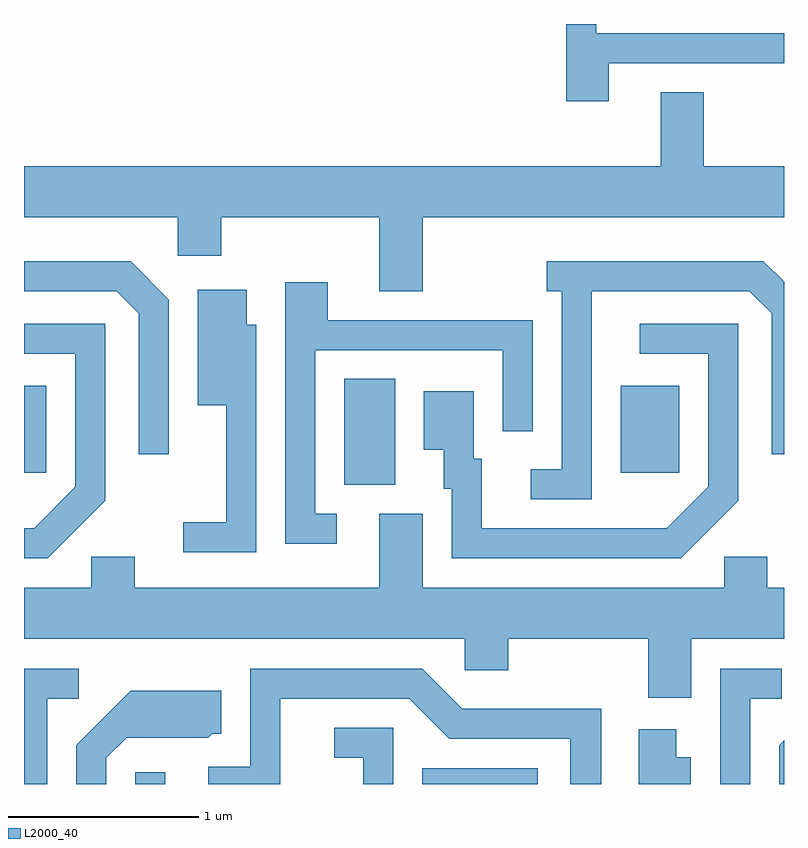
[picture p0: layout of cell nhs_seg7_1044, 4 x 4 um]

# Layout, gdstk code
import gdstk
lib = gdstk.Library(unit=1e-6, precision=1e-09)
def R(c, l, rs):  # rectangles x0, y0, x1, y1
    for r in rs: c.add(gdstk.rectangle(r[:2], r[2:], *l))
def P(c, l, *ps):  # polygons
    for p in ps: c.add(gdstk.Polygon(p, *l))
L2000_40 = (2000, 40)

nhs_seg7_1044 = lib.new_cell('nhs_seg7_1044')
R(nhs_seg7_1044, L2000_40, [(218.196,1680.252,218.354,1680.313), (219.706,1680.252,220.314,1680.334), (219.296,1681.826,219.564,1682.384), (217.611,1681.891,217.729,1682.349), (220.751,1681.891,221.059,1682.349)])
P(nhs_seg7_1044, L2000_40, [(220.689,1684.046),(221.611,1684.046),(221.611,1684.204),(220.624,1684.204),(220.624,1684.252),(220.466,1684.252),(220.466,1683.846),(220.689,1683.846)],
  [(219.709,1683.236),(221.611,1683.236),(221.611,1683.504),(221.189,1683.504),(221.189,1683.894),(220.961,1683.894),(220.961,1683.504),(217.611,1683.504),(217.611,1683.236),(218.421,1683.236),(218.421,1683.031),(218.649,1683.031),(218.649,1683.236),(219.481,1683.236),(219.481,1682.846),(219.709,1682.846)],
  [(218.374,1682.802),(218.172,1683.004),(217.611,1683.004),(217.611,1682.846),(218.099,1682.846),(218.216,1682.729),(218.216,1681.988),(218.374,1681.988)],
  [(220.599,1682.846),(221.429,1682.846),(221.546,1682.729),(221.546,1681.988),(221.611,1681.988),(221.611,1682.895),(221.502,1683.004),(220.363,1683.004),(220.363,1682.846),(220.441,1682.846),(220.441,1681.909),(220.278,1681.909),(220.278,1681.751),(220.599,1681.751)],
  [(219.258,1681.674),(219.144,1681.674),(219.144,1682.536),(220.131,1682.536),(220.131,1682.108),(220.289,1682.108),(220.289,1682.694),(219.209,1682.694),(219.209,1682.894),(218.986,1682.894),(218.986,1681.516),(219.258,1681.516)],
  [(218.834,1682.669),(218.784,1682.669),(218.784,1682.854),(218.526,1682.854),(218.526,1682.246),(218.676,1682.246),(218.676,1681.629),(218.448,1681.629),(218.448,1681.471),(218.834,1681.471)],
  [(218.039,1681.744),(218.039,1682.674),(217.611,1682.674),(217.611,1682.516),(217.881,1682.516),(217.881,1681.817),(217.664,1681.599),(217.611,1681.599),(217.611,1681.441),(217.737,1681.441)],
  [(221.369,1681.744),(221.369,1682.674),(220.853,1682.674),(220.853,1682.516),(221.211,1682.516),(221.211,1681.817),(220.994,1681.599),(220.019,1681.599),(220.019,1681.964),(219.979,1681.964),(219.979,1682.319),(219.716,1682.319),(219.716,1682.011),(219.821,1682.011),(219.821,1681.806),(219.861,1681.806),(219.861,1681.441),(221.067,1681.441)],
  [(221.124,1681.016),(221.611,1681.016),(221.611,1681.284),(221.524,1681.284),(221.524,1681.449),(221.296,1681.449),(221.296,1681.284),(219.709,1681.284),(219.709,1681.674),(219.481,1681.674),(219.481,1681.284),(218.194,1681.284),(218.194,1681.449),(217.966,1681.449),(217.966,1681.284),(217.611,1681.284),(217.611,1681.016),(219.931,1681.016),(219.931,1680.851),(220.159,1680.851),(220.159,1681.016),(220.896,1681.016),(220.896,1680.706),(221.124,1680.706)],
  [(221.434,1680.701),(221.598,1680.701),(221.598,1680.859),(221.276,1680.859),(221.276,1680.252),(221.434,1680.252)],
  [(218.959,1680.701),(219.639,1680.701),(219.849,1680.491),(220.486,1680.491),(220.486,1680.252),(220.649,1680.252),(220.649,1680.649),(219.917,1680.649),(219.707,1680.859),(218.801,1680.859),(218.801,1680.344),(218.581,1680.344),(218.581,1680.252),(218.959,1680.252)],
  [(217.734,1680.701),(217.898,1680.701),(217.898,1680.859),(217.611,1680.859),(217.611,1680.252),(217.734,1680.252)],
  [(218.044,1680.389),(218.152,1680.496),(218.582,1680.496),(218.602,1680.516),(218.649,1680.516),(218.649,1680.744),(218.174,1680.744),(217.886,1680.457),(217.886,1680.252),(218.044,1680.252)],
  [(219.554,1680.549),(219.243,1680.549),(219.243,1680.391),(219.396,1680.391),(219.396,1680.252),(219.554,1680.252)],
  [(221.119,1680.394),(221.044,1680.394),(221.044,1680.539),(220.846,1680.539),(220.846,1680.252),(221.119,1680.252)],
  [(221.611,1680.482),(221.586,1680.457),(221.586,1680.252),(221.611,1680.252)])

lib.write_gds('nhs_seg7_1044.gds')
